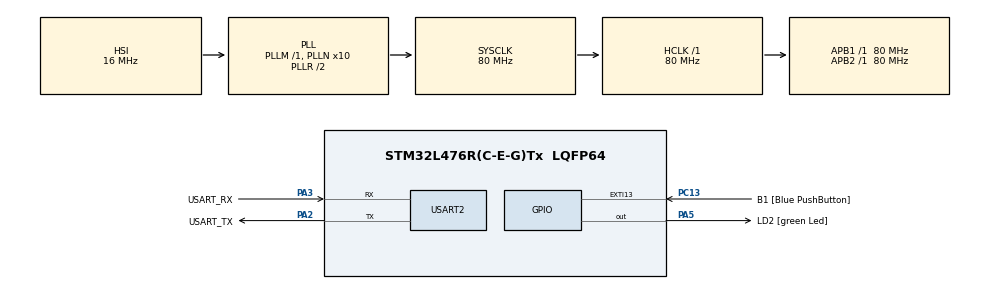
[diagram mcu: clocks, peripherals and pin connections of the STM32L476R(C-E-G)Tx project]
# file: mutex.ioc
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FREERTOS.Tasks01=defaultTask,0,128,StartDefaultTask,Default,NULL,Dynamic,NULL,NULL
Mcu.Family=STM32L4
Mcu.Name=STM32L476R(C-E-G)Tx
Mcu.Package=LQFP64
NVIC.PriorityGroup=NVIC_PRIORITYGROUP_4
PA13\ (JTMS-SWDIO).GPIO_Label=TMS
PA13\ (JTMS-SWDIO).Mode=Serial_Wire
PA13\ (JTMS-SWDIO).Signal=SYS_JTMS-SWDIO
PA14\ (JTCK-SWCLK).GPIO_Label=TCK
PA14\ (JTCK-SWCLK).Mode=Serial_Wire
PA14\ (JTCK-SWCLK).Signal=SYS_JTCK-SWCLK
PA2.GPIO_Label=USART_TX
PA2.GPIO_Mode=GPIO_MODE_AF_PP
PA2.GPIO_PuPd=GPIO_NOPULL
PA2.GPIO_Speed=GPIO_SPEED_FREQ_VERY_HIGH
PA2.Mode=Asynchronous
PA2.Signal=USART2_TX
PA3.GPIO_Label=USART_RX
PA3.GPIO_Mode=GPIO_MODE_AF_PP
PA3.GPIO_PuPd=GPIO_NOPULL
PA3.GPIO_Speed=GPIO_SPEED_FREQ_VERY_HIGH
PA3.Mode=Asynchronous
PA3.Signal=USART2_RX
PA5.GPIO_Label=LD2 [green Led]
PA5.GPIO_ModeDefaultOutputPP=GPIO_MODE_OUTPUT_PP
PA5.GPIO_PuPd=GPIO_NOPULL
PA5.GPIO_Speed=GPIO_SPEED_FREQ_LOW
PA5.Signal=GPIO_Output
PB3\ (JTDO-TRACESWO).GPIO_Label=SWO
PB3\ (JTDO-TRACESWO).Signal=SYS_JTDO-SWO
PC13.GPIO_Label=B1 [Blue PushButton]
PC13.GPIO_ModeDefaultEXTI=GPIO_MODE_IT_FALLING
PC13.GPIO_PuPd=GPIO_NOPULL
PC13.Signal=GPXTI13
PC14-OSC32_IN\ (PC14).Mode=LSE-External-Oscillator
PC14-OSC32_IN\ (PC14).Signal=RCC_OSC32_IN
PC15-OSC32_OUT\ (PC15).Mode=LSE-External-Oscillator
PC15-OSC32_OUT\ (PC15).Signal=RCC_OSC32_OUT
PH0-OSC_IN\ (PH0).Signal=RCC_OSC_IN
PH1-OSC_OUT\ (PH1).Signal=RCC_OSC_OUT
ProjectManager.HeapSize=0x200
ProjectManager.StackSize=0x400
ProjectManager.TargetToolchain=STM32CubeIDE
RCC.ADCFreq_Value=64000000
RCC.AHBFreq_Value=80000000
RCC.APB1Freq_Value=80000000
RCC.APB1TimFreq_Value=80000000
RCC.APB2Freq_Value=80000000
RCC.APB2TimFreq_Value=80000000
RCC.CortexFreq_Value=80000000
RCC.HCLKFreq_Value=80000000
RCC.HSE_VALUE=8000000
RCC.HSI_VALUE=16000000
RCC.MSI_VALUE=4000000
RCC.PLLN=10
RCC.PLLSourceVirtual=RCC_PLLSOURCE_HSI
RCC.PREFETCH_ENABLE=1
RCC.SYSCLKFreq_VALUE=80000000
RCC.SYSCLKSource=RCC_SYSCLKSOURCE_PLLCLK
RCC.USBFreq_Value=64000000
RCC.VCOOutputFreq_Value=160000000
USART2.VirtualMode-Asynchronous=VM_ASYNC
VP_FREERTOS_VS_CMSIS_V1.Mode=CMSIS_V1
board=NUCLEO-L476RG

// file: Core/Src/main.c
/* USER CODE BEGIN Header */
/**
  ******************************************************************************
  * @file           : main.c
  * @brief          : Main program body
  ******************************************************************************
  * @attention
  *
  * Copyright (c) 2025 STMicroelectronics.
  * All rights reserved.
  *
  * This software is licensed under terms that can be found in the LICENSE file
  * in the root directory of this software component.
  * If no LICENSE file comes with this software, it is provided AS-IS.
  *
  ******************************************************************************
  */
/* USER CODE END Header */
#include "main.h"
#include "cmsis_os.h"

/* USER CODE BEGIN Includes */
#include<string.h>
#include"semphr.h"
/* USER CODE END Includes */

UART_HandleTypeDef huart2;

osThreadId defaultTaskHandle;
/* USER CODE BEGIN PV */
xSemaphoreHandle	xBinSem;  //binary semaphore handle
/* USER CODE END PV */

void SystemClock_Config(void);
static void MX_GPIO_Init(void);
static void MX_USART2_UART_Init(void);
void StartDefaultTask(void const * argument);

/* USER CODE BEGIN 0 */
// Send string over UART
void uart_send(char *s)
{
	HAL_UART_Transmit(&huart2, (uint8_t*)s, strlen(s), 1000);
}

// Task-1
void task1(void *p)
{
	while(1)
	{
		xSemaphoreTake(xBinSem, portMAX_DELAY);   // Take semaphore (lock)
		uart_send("task-1 running\r\n");          // Print message
		xSemaphoreGive(xBinSem);                  // Give semaphore (unlock)
		vTaskDelay(pdMS_TO_TICKS(500));           // Delay 500ms
	}
}

// Task-2
void task2(void *p)
{
	while(1)
	{
		xSemaphoreTake(xBinSem, portMAX_DELAY);   // Take semaphore (lock)
		uart_send("task-2 running\r\n");          // Print message
		xSemaphoreGive(xBinSem);                  // Give semaphore (unlock)
		vTaskDelay(pdMS_TO_TICKS(500));           // Delay 500ms
	}
}

/* USER CODE END 0 */

int main(void)
{

  /* MCU Configuration--------------------------------------------------------*/

  /* Reset of all peripherals, Initializes the Flash interface and the Systick. */
  HAL_Init();

  /* Configure the system clock */
  SystemClock_Config();

  /* Initialize all configured peripherals */
  MX_GPIO_Init();
  MX_USART2_UART_Init();

  /* Create the thread(s) */
  /* definition and creation of defaultTask */
  osThreadDef(defaultTask, StartDefaultTask, osPriorityNormal, 0, 128);
  defaultTaskHandle = osThreadCreate(osThread(defaultTask), NULL);

  /* USER CODE BEGIN RTOS_THREADS */
  vSemaphoreCreateBinary(xBinSem);   // Create a binary semaphore

  if(xBinSem != NULL)   // Check if semaphore created successfully
  {
  	  // Create Task1 with priority 1
  	  xTaskCreate(task1, "Task-1", configMINIMAL_STACK_SIZE, NULL, 1, NULL);

  	  // Create Task2 with priority 1
  	  xTaskCreate(task2, "Task-2", configMINIMAL_STACK_SIZE, NULL, 1, NULL);

  	  xSemaphoreGive(xBinSem);   // Give semaphore initially
  }

  /* USER CODE END RTOS_THREADS */

  /* Start scheduler */
  osKernelStart();

  /* We should never get here as control is now taken by the scheduler */

  /* Infinite loop */
  while (1)
  {

  }
}

void SystemClock_Config(void)
{
  RCC_OscInitTypeDef RCC_OscInitStruct = {0};
  RCC_ClkInitTypeDef RCC_ClkInitStruct = {0};

  /** Configure the main internal regulator output voltage
  */
  if (HAL_PWREx_ControlVoltageScaling(PWR_REGULATOR_VOLTAGE_SCALE1) != HAL_OK)
  {
    Error_Handler();
  }

  /** Initializes the RCC Oscillators according to the specified parameters
  * in the RCC_OscInitTypeDef structure.
  */
  RCC_OscInitStruct.OscillatorType = RCC_OSCILLATORTYPE_HSI;
  RCC_OscInitStruct.HSIState = RCC_HSI_ON;
  RCC_OscInitStruct.HSICalibrationValue = RCC_HSICALIBRATION_DEFAULT;
  RCC_OscInitStruct.PLL.PLLState = RCC_PLL_ON;
  RCC_OscInitStruct.PLL.PLLSource = RCC_PLLSOURCE_HSI;
  RCC_OscInitStruct.PLL.PLLM = 1;
  RCC_OscInitStruct.PLL.PLLN = 10;
  RCC_OscInitStruct.PLL.PLLP = RCC_PLLP_DIV7;
  RCC_OscInitStruct.PLL.PLLQ = RCC_PLLQ_DIV2;
  RCC_OscInitStruct.PLL.PLLR = RCC_PLLR_DIV2;
  if (HAL_RCC_OscConfig(&RCC_OscInitStruct) != HAL_OK)
  {
    Error_Handler();
  }

  /** Initializes the CPU, AHB and APB buses clocks
  */
  RCC_ClkInitStruct.ClockType = RCC_CLOCKTYPE_HCLK|RCC_CLOCKTYPE_SYSCLK
                              |RCC_CLOCKTYPE_PCLK1|RCC_CLOCKTYPE_PCLK2;
  RCC_ClkInitStruct.SYSCLKSource = RCC_SYSCLKSOURCE_PLLCLK;
  RCC_ClkInitStruct.AHBCLKDivider = RCC_SYSCLK_DIV1;
  RCC_ClkInitStruct.APB1CLKDivider = RCC_HCLK_DIV1;
  RCC_ClkInitStruct.APB2CLKDivider = RCC_HCLK_DIV1;

  if (HAL_RCC_ClockConfig(&RCC_ClkInitStruct, FLASH_LATENCY_4) != HAL_OK)
  {
    Error_Handler();
  }
}

static void MX_USART2_UART_Init(void)
{

  huart2.Instance = USART2;
  huart2.Init.BaudRate = 115200;
  huart2.Init.WordLength = UART_WORDLENGTH_8B;
  huart2.Init.StopBits = UART_STOPBITS_1;
  huart2.Init.Parity = UART_PARITY_NONE;
  huart2.Init.Mode = UART_MODE_TX_RX;
  huart2.Init.HwFlowCtl = UART_HWCONTROL_NONE;
  huart2.Init.OverSampling = UART_OVERSAMPLING_16;
  huart2.Init.OneBitSampling = UART_ONE_BIT_SAMPLE_DISABLE;
  huart2.AdvancedInit.AdvFeatureInit = UART_ADVFEATURE_NO_INIT;
  if (HAL_UART_Init(&huart2) != HAL_OK)
  {
    Error_Handler();
  }

}

static void MX_GPIO_Init(void)
{
  GPIO_InitTypeDef GPIO_InitStruct = {0};

  /* GPIO Ports Clock Enable */
  __HAL_RCC_GPIOC_CLK_ENABLE();
  __HAL_RCC_GPIOH_CLK_ENABLE();
  __HAL_RCC_GPIOA_CLK_ENABLE();
  __HAL_RCC_GPIOB_CLK_ENABLE();

  /*Configure GPIO pin Output Level */
  HAL_GPIO_WritePin(LD2_GPIO_Port, LD2_Pin, GPIO_PIN_RESET);

  /*Configure GPIO pin : B1_Pin */
  GPIO_InitStruct.Pin = B1_Pin;
  GPIO_InitStruct.Mode = GPIO_MODE_IT_FALLING;
  GPIO_InitStruct.Pull = GPIO_NOPULL;
  HAL_GPIO_Init(B1_GPIO_Port, &GPIO_InitStruct);

  /*Configure GPIO pin : LD2_Pin */
  GPIO_InitStruct.Pin = LD2_Pin;
  GPIO_InitStruct.Mode = GPIO_MODE_OUTPUT_PP;
  GPIO_InitStruct.Pull = GPIO_NOPULL;
  GPIO_InitStruct.Speed = GPIO_SPEED_FREQ_LOW;
  HAL_GPIO_Init(LD2_GPIO_Port, &GPIO_InitStruct);

}

void StartDefaultTask(void const * argument)
{
  for(;;)
  {
    osDelay(1);
  }
}

void Error_Handler(void)
{
  __disable_irq();
  while (1)
  {
  }
}
